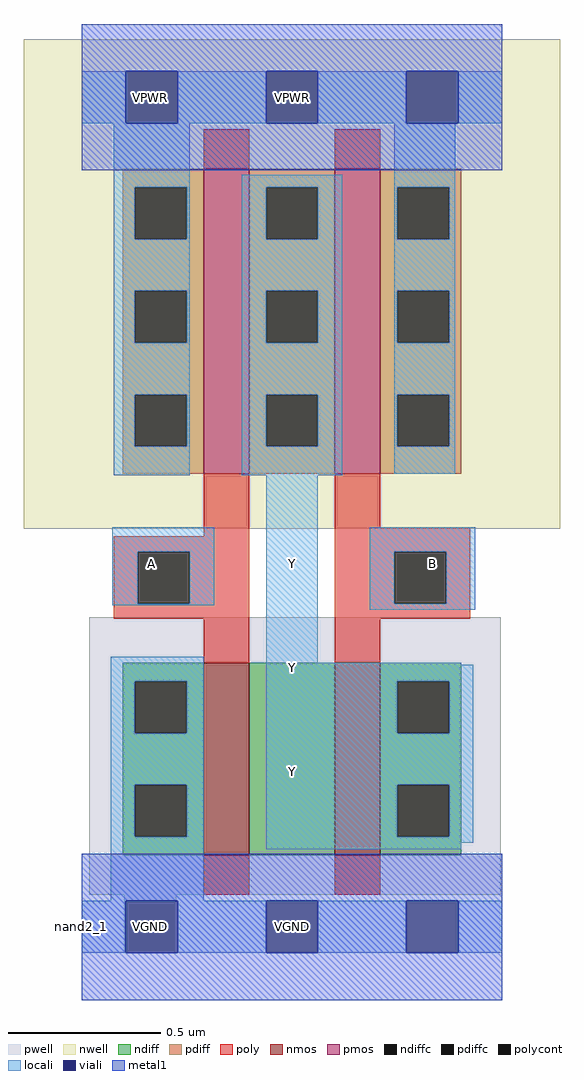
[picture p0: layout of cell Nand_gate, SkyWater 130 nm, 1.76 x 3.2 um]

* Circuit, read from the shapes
.subckt Nand_gate VGND VNB VPB VPWR A Y B
XM1 n1 A VGND VNB sky130_fd_pr__nfet_01v8 w=0.63 l=0.15
XM2 Y B n1 VNB sky130_fd_pr__nfet_01v8 w=0.63 l=0.15
XM3 Y A VPWR VPB sky130_fd_pr__pfet_01v8 w=1 l=0.15
XM4 VPWR B Y VPB sky130_fd_pr__pfet_01v8 w=1 l=0.15
.ends

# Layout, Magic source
magic
tech sky130A
magscale 1 2
<< nwell >>
rect -38 261 314 582
<< pwell >>
rect 5 21 275 203
rect 28 -17 62 21
<< nmos >>
rect 80 47 110 173
rect 166 47 196 173
<< pmos >>
rect 80 297 110 497
rect 166 297 196 497
<< ndiff >>
rect 27 161 80 173
rect 27 127 35 161
rect 69 127 80 161
rect 27 93 80 127
rect 27 59 35 93
rect 69 59 80 93
rect 27 47 80 59
rect 110 47 166 173
rect 196 161 249 173
rect 196 127 207 161
rect 241 127 249 161
rect 196 93 249 127
rect 196 59 207 93
rect 241 59 249 93
rect 196 47 249 59
<< pdiff >>
rect 27 485 80 497
rect 27 451 35 485
rect 69 451 80 485
rect 27 417 80 451
rect 27 383 35 417
rect 69 383 80 417
rect 27 349 80 383
rect 27 315 35 349
rect 69 315 80 349
rect 27 297 80 315
rect 110 485 166 497
rect 110 451 121 485
rect 155 451 166 485
rect 110 417 166 451
rect 110 383 121 417
rect 155 383 166 417
rect 110 349 166 383
rect 110 315 121 349
rect 155 315 166 349
rect 110 297 166 315
rect 196 485 249 497
rect 196 451 207 485
rect 241 451 249 485
rect 196 417 249 451
rect 196 383 207 417
rect 241 383 249 417
rect 196 349 249 383
rect 196 315 207 349
rect 241 315 249 349
rect 196 297 249 315
<< ndiffc >>
rect 35 127 69 161
rect 35 59 69 93
rect 207 127 241 161
rect 207 59 241 93
<< pdiffc >>
rect 35 451 69 485
rect 35 383 69 417
rect 35 315 69 349
rect 121 451 155 485
rect 121 383 155 417
rect 121 315 155 349
rect 207 451 241 485
rect 207 383 241 417
rect 207 315 241 349
<< poly >>
rect 80 497 110 523
rect 166 497 196 523
rect 80 256 110 297
rect 21 246 110 256
rect 21 212 37 246
rect 71 212 110 246
rect 21 202 110 212
rect 80 173 110 202
rect 166 262 196 297
rect 166 246 255 262
rect 166 212 205 246
rect 239 212 255 246
rect 166 202 255 212
rect 166 173 196 202
rect 80 21 110 47
rect 166 21 196 47
<< polycont >>
rect 37 212 71 246
rect 205 212 239 246
<< locali >>
rect 0 527 29 561
rect 63 527 121 561
rect 155 527 213 561
rect 247 527 276 561
rect 21 485 71 527
rect 21 451 35 485
rect 69 451 71 485
rect 21 417 71 451
rect 21 383 35 417
rect 69 383 71 417
rect 21 349 71 383
rect 21 315 35 349
rect 69 315 71 349
rect 21 296 71 315
rect 105 485 171 493
rect 105 451 121 485
rect 155 451 171 485
rect 105 417 171 451
rect 105 383 121 417
rect 155 383 171 417
rect 105 349 171 383
rect 105 315 121 349
rect 155 315 171 349
rect 105 296 171 315
rect 205 485 245 527
rect 205 451 207 485
rect 241 451 245 485
rect 205 417 245 451
rect 205 383 207 417
rect 241 383 245 417
rect 205 349 245 383
rect 205 315 207 349
rect 241 315 245 349
rect 205 297 245 315
rect 20 246 87 262
rect 20 212 37 246
rect 71 212 87 246
rect 20 211 87 212
rect 19 161 80 177
rect 19 127 35 161
rect 69 127 80 161
rect 19 93 80 127
rect 19 59 35 93
rect 69 59 80 93
rect 19 17 80 59
rect 121 173 155 296
rect 189 246 258 262
rect 189 212 205 246
rect 239 212 258 246
rect 189 208 258 212
rect 121 172 249 173
rect 121 161 257 172
rect 121 127 207 161
rect 241 127 257 161
rect 121 93 257 127
rect 121 59 207 93
rect 241 59 257 93
rect 121 55 257 59
rect 121 51 249 55
rect 0 -17 29 17
rect 63 -17 121 17
rect 155 -17 213 17
rect 247 -17 276 17
<< viali >>
rect 29 527 63 561
rect 121 527 155 561
rect 213 527 247 561
rect 29 -17 63 17
rect 121 -17 155 17
rect 213 -17 247 17
<< metal1 >>
rect 0 561 276 592
rect 0 527 29 561
rect 63 527 121 561
rect 155 527 213 561
rect 247 527 276 561
rect 0 496 276 527
rect 0 17 276 48
rect 0 -17 29 17
rect 63 -17 121 17
rect 155 -17 213 17
rect 247 -17 276 17
rect 0 -48 276 -17
<< labels >>
flabel metal1 s 28 527 62 561 0 FreeSans 200 0 0 0 VPWR
port 6 nsew power bidirectional abutment
rlabel metal1 s 0 496 276 592 1 VPWR
port 6 nsew power bidirectional abutment
rlabel metal1 s 0 -48 276 48 1 VGND
port 3 nsew ground bidirectional abutment
rlabel comment s 0 0 0 0 4 nand2_1
rlabel locali 29 221 63 255 1 A
port 7 n signal input
flabel metal1 s 28 -17 62 17 0 FreeSans 200 0 0 0 VGND
port 3 nsew ground bidirectional abutment
flabel pwell s 28 -17 62 17 0 FreeSans 200 0 0 0 VNB
port 4 nsew ground bidirectional
flabel nwell s 28 527 62 561 0 FreeSans 200 0 0 0 VPB
port 5 nsew power bidirectional
rlabel locali 213 221 247 255 1 B
port 10 n signal input
rlabel locali 121 85 155 119 1 Y
port 9 n signal output
rlabel locali 121 221 155 255 1 Y
port 9 n signal output
rlabel locali 121 153 155 187 1 Y
port 9 n signal output
<< properties >>
string FIXED_BBOX 0 0 276 544
<< end >>
